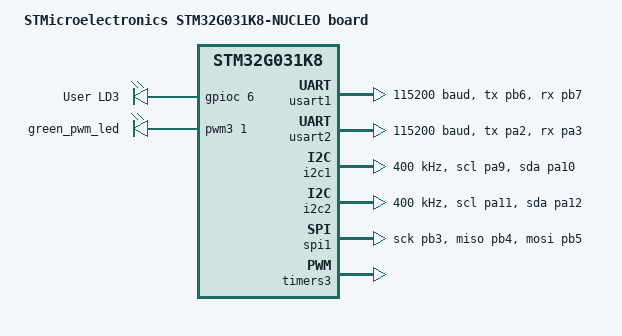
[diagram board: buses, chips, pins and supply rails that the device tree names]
/*
 * Copyright (c) 2022 Joylab AG <team@joylab.ch>
 *
 * SPDX-License-Identifier: Apache-2.0
 */

/dts-v1/;
#include <st/g0/stm32g031X8.dtsi>
#include <st/g0/stm32g031k(4-6-8)tx-pinctrl.dtsi>
#include "arduino_nano_connector.dtsi"

/ {
	model = "STMicroelectronics STM32G031K8-NUCLEO board";
	compatible = "st,stm32g031k8-nucleo";

	chosen {
		zephyr,console = &usart2;
		zephyr,shell-uart = &usart2;
		zephyr,sram = &sram0;
		zephyr,flash = &flash0;
	};

	leds: leds {
		compatible = "gpio-leds";

		green_led_3: led_3 {
			gpios = <&gpioc 6 GPIO_ACTIVE_HIGH>;
			label = "User LD3";
		};
	};

	pwmleds {
		compatible = "pwm-leds";

		green_pwm_led: green_pwm_led {
			pwms = <&pwm3 1 PWM_MSEC(20) PWM_POLARITY_NORMAL>;
		};
	};

	aliases {
		led0 = &green_led_3;
		pwm-led0 = &green_pwm_led;
	};
};

&clk_hsi {
	status = "okay";
};

&pll {
	div-m = <1>;
	mul-n = <8>;
	div-r = <2>;
	clocks = <&clk_hsi>;
	status = "okay";
};

&rcc {
	clocks = <&pll>;
	clock-frequency = <DT_FREQ_M(64)>;
	ahb-prescaler = <1>;
	apb1-prescaler = <1>;
};

&usart1 {
	pinctrl-0 = <&usart1_tx_pb6 &usart1_rx_pb7>;
	pinctrl-names = "default";
	current-speed = <115200>;
};

&usart2 {
	pinctrl-0 = <&usart2_tx_pa2 &usart2_rx_pa3>;
	pinctrl-names = "default";
	current-speed = <115200>;
	status = "okay";
};

&i2c1 {
	pinctrl-0 = <&i2c1_scl_pa9 &i2c1_sda_pa10>;
	pinctrl-names = "default";
	scl-gpios = <&gpioa 9 GPIO_ACTIVE_HIGH>;
	sda-gpios = <&gpioa 10 GPIO_ACTIVE_HIGH>;
	clock-frequency = <I2C_BITRATE_FAST>;
	status = "okay";
};

&i2c2 {
	pinctrl-0 = <&i2c2_scl_pa11 &i2c2_sda_pa12>;
	pinctrl-names = "default";
	scl-gpios = <&gpioa 11 GPIO_ACTIVE_HIGH>;
	sda-gpios = <&gpioa 12 GPIO_ACTIVE_HIGH>;
	clock-frequency = <I2C_BITRATE_FAST>;
	status = "okay";
};

&spi1 {
	pinctrl-0 = <&spi1_sck_pb3 &spi1_miso_pb4 &spi1_mosi_pb5>;
	pinctrl-names = "default";
	status = "okay";
};

&timers3 {
	st,prescaler = <10000>;
	status = "okay";

	pwm3: pwm {
		status = "okay";
		pinctrl-0 = <&tim3_ch1_pc6>;
		pinctrl-names = "default";
	};
};
